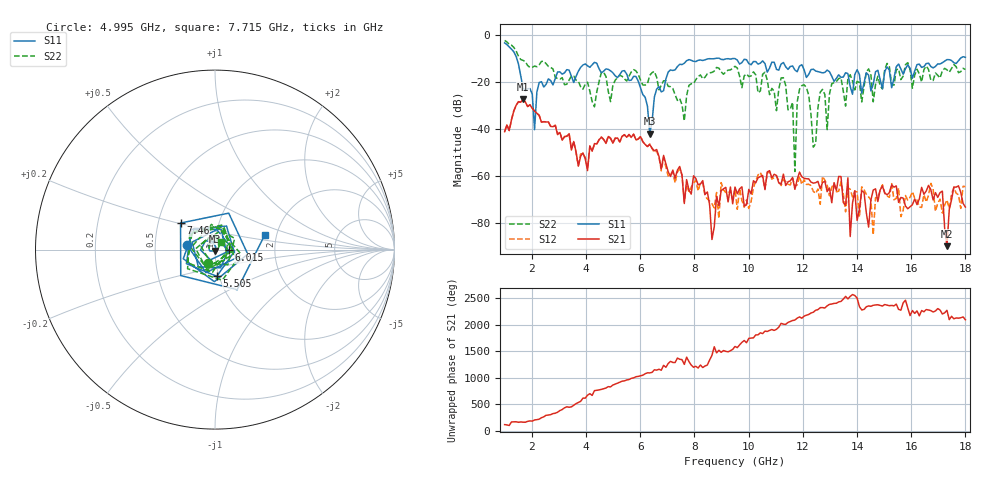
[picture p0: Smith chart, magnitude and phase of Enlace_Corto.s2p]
!Keysight Technologies N9917A: A.11.27
!Date: Saturday, 26 October 2019 06:41:15
!Timezone: (UTC-08:00) Pacific Time (US & Canada)
!Model: N9917A
!Serial: MY56072049
!GPS Latitude:
!GPS Longitude:
!GPS TimeStamp: 0001-01-01 00:00:00Z
!GPS Seconds Since Last Read: 0
!CHECKSUM:1605773443
!Correction: S11(Rdy)S21(Rdy)S12(Rdy)S22(Rdy)
!S2P File: Measurements:S11,S21,S12,S22:
# Hz S DB R 50
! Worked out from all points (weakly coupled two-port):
!   201 points, 1 GHz to 18 GHz, reference 50 ohm
!   highest |S21| = -27.27 dB at 1.68 GHz (marker M1); lowest = -90.0 dB at 17.32 GHz (marker M2)
!   lowest |S11| = -42.0 dB at 6.355 GHz (marker M3), VSWR 1.02, Z = 50 - j0.798 ohm
!   |S11| at or under -10 dB: 1.453 GHz to 8.507 GHz (7.055 GHz wide, 142 % of centre); 8.957 GHz to 9.175 GHz (218.4 MHz wide, 2.41 % of centre); 9.517 GHz to 17.8 GHz (8.284 GHz wide, 60.6 % of centre) (the widest 3 of 4)
!   |S22| runs from -58.1 to -2.1 dB; largest |S21 - S12| = 0.00055
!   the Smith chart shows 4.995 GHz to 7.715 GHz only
!   S11 on the Smith chart (normalised r, x): 4.995 GHz: 0.73, +0.04; 5.505 GHz: 0.98, -0.30; 6.015 GHz: 1.16, -0.01; 7.46 GHz: 0.65, +0.21; 7.715 GHz: 1.73, +0.31
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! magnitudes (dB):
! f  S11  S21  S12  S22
! 1 GHz  -3.2  -41.1  -41.1  -2.1
! 1.68 GHz  -22.3  -27.3  -27.3  -10.6
! 2.105 GHz  -40.2  -32.3  -32.3  -13.1
! 3.89 GHz  -12.6  -50.2  -50.5  -23.0
! 4.995 GHz  -15.9  -46.0  -45.8  -21.1
! 5.505 GHz  -16.5  -43.5  -43.6  -19.5
! 6.015 GHz  -22.4  -43.3  -43.1  -19.1
! 6.355 GHz  -42.0  -46.6  -46.3  -17.0
! 6.695 GHz  -21.9  -51.7  -51.9  -23.2
! 7.46 GHz  -12.3  -56.0  -57.1  -27.0
! 7.715 GHz  -10.8  -61.6  -63.8  -25.7
! 9.5 GHz  -9.9  -64.8  -65.6  -13.2
! 11.29 GHz  -11.6  -59.2  -61.6  -18.1
! 11.62 GHz  -13.0  -60.7  -61.0  -28.6
! 11.71 GHz  -14.7  -65.7  -64.5  -58.1
! 11.79 GHz  -15.5  -61.5  -63.8  -28.4
! 12.05 GHz  -14.6  -61.0  -61.7  -21.1
! 12.39 GHz  -14.4  -63.1  -66.6  -47.7
! 12.73 GHz  -16.0  -62.9  -60.2  -23.0
! 15.2 GHz  -14.8  -67.2  -69.2  -13.4
! 17.32 GHz  -10.3  -90.0  -70.3  -14.7
! 18 GHz  -9.3  -73.3  -64.7  -14.5
